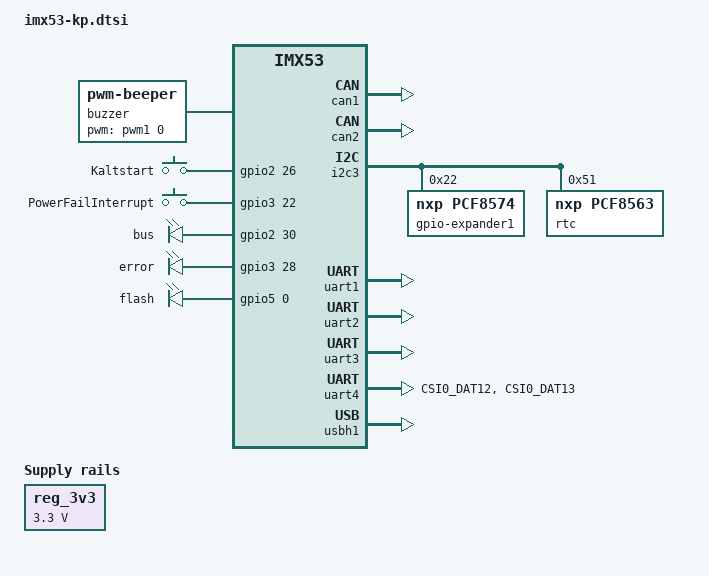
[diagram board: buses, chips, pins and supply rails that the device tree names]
// SPDX-License-Identifier: (GPL-2.0+ OR MIT)
/*
 * Copyright 2018
 * Lukasz Majewski, DENX Software Engineering, lukma@denx.de
 */

/dts-v1/;
#include "imx53-tqma53.dtsi"
#include <dt-bindings/input/input.h>

/ {
	buzzer {
		compatible = "pwm-beeper";
		pinctrl-names = "default";
		pinctrl-0 = <&pinctrl_buzzer>;
		pwms = <&pwm1 0 500000>;
	};

	gpio-buttons {
		compatible = "gpio-keys";
		pinctrl-names = "default";
		pinctrl-0 = <&pinctrl_gpiobuttons>;

		button-kalt {
			label = "Kaltstart";
			linux,code = <KEY_F6>;
			gpios = <&gpio2 26 GPIO_ACTIVE_HIGH>;
		};

		button-pwr {
			label = "PowerFailInterrupt";
			linux,code = <KEY_F7>;
			gpios = <&gpio3 22 GPIO_ACTIVE_HIGH>;
		};
	};

	leds {
		compatible = "gpio-leds";
		pinctrl-names = "default";
		pinctrl-0 = <&pinctrl_leds>;

		led-bus {
			label = "bus";
			gpios = <&gpio2 30 GPIO_ACTIVE_HIGH>;
			linux,default-trigger = "gpio";
			default-state = "off";
		};

		led-error {
			label = "error";
			gpios = <&gpio3 28 GPIO_ACTIVE_HIGH>;
			linux,default-trigger = "gpio";
			default-state = "off";
		};

		led-flash {
			label = "flash";
			gpios = <&gpio5 0 GPIO_ACTIVE_HIGH>;
			linux,default-trigger = "heartbeat";
		};
	};

	reg_3v3: regulator-3v3 {
		compatible = "regulator-fixed";
		regulator-name = "3V3";
		regulator-min-microvolt = <3300000>;
		regulator-max-microvolt = <3300000>;
		regulator-always-on;
	};
};

&can1 {
	status = "okay";
};

&can2 {
	status = "okay";
};

&i2c3 {
	status = "okay";

	gpio-expander1@22 {
		compatible = "nxp,pcf8574";
		reg = <0x22>;
		interrupts = <109>;
		#gpio-cells = <2>;
		gpio-controller;
	};

	rtc@51 {
		compatible = "nxp,pcf8563";
		reg = <0x51>;
	};
};

&iomuxc {
	pinctrl-names = "default";
	pinctrl-0 = <&pinctrl_kp_common>;

	imx53-kp-common {
		pinctrl_buzzer: buzzergrp {
			fsl,pins = <
				MX53_PAD_SD1_DATA3__PWM1_PWMO 0x1e4
			>;
		};

		pinctrl_gpiobuttons: gpiobuttonsgrp {
			fsl,pins = <
				MX53_PAD_EIM_RW__GPIO2_26 0x1e4
				MX53_PAD_EIM_D22__GPIO3_22 0x1e4
			>;
		};

		pinctrl_kp_common: kpcommongrp {
			fsl,pins = <
				MX53_PAD_EIM_CS0__GPIO2_23 0x1e4
				MX53_PAD_GPIO_19__GPIO4_5  0x1e4
				MX53_PAD_PATA_DATA6__GPIO2_6 0x1e4
				MX53_PAD_PATA_DATA7__GPIO2_7 0xe0
				MX53_PAD_CSI0_DAT14__GPIO6_0 0x1e4
				MX53_PAD_CSI0_DAT16__GPIO6_2 0x1e4
				MX53_PAD_CSI0_DAT18__GPIO6_4 0x1e4
				MX53_PAD_EIM_D17__GPIO3_17 0x1e4
				MX53_PAD_EIM_D18__GPIO3_18 0x1e4
				MX53_PAD_EIM_D21__GPIO3_21 0x1e4
				MX53_PAD_EIM_D29__GPIO3_29 0x1e4
				MX53_PAD_EIM_DA11__GPIO3_11 0x1e4
				MX53_PAD_EIM_DA13__GPIO3_13 0x1e4
				MX53_PAD_EIM_DA14__GPIO3_14 0x1e4
				MX53_PAD_SD1_DATA0__GPIO1_16 0x1e4
				MX53_PAD_SD1_CMD__GPIO1_18 0x1e4
				MX53_PAD_SD1_CLK__GPIO1_20 0x1e4
			>;
		};

		pinctrl_leds: ledgrp {
			fsl,pins = <
				MX53_PAD_EIM_EB2__GPIO2_30 0x1d4
				MX53_PAD_EIM_D28__GPIO3_28 0x1d4
				MX53_PAD_EIM_WAIT__GPIO5_0 0x1d4
			>;
		};

		pinctrl_uart4: uart4grp {
			fsl,pins = <
				MX53_PAD_CSI0_DAT12__UART4_TXD_MUX 0x1e4
				MX53_PAD_CSI0_DAT13__UART4_RXD_MUX 0x1e4
			>;
		};
	};
};

&pinctrl_uart1 {
	fsl,pins = <
		MX53_PAD_EIM_D23__GPIO3_23 0x1e4
		MX53_PAD_EIM_EB3__GPIO2_31 0x1e4
		MX53_PAD_EIM_D24__GPIO3_24 0x1e4
		MX53_PAD_EIM_D25__GPIO3_25 0x1e4
		MX53_PAD_EIM_D19__GPIO3_19 0x1e4
		MX53_PAD_EIM_D20__GPIO3_20 0x1e4
	>;
};

&pwm1 {
	#pwm-cells = <2>;
};

&pwm2 {
	#pwm-cells = <2>;
};

&uart1 {
	status = "okay";
};

&uart2 {
	status = "okay";
};

&uart3 {
	status = "okay";
};

&uart4 {
	pinctrl-names = "default";
	pinctrl-0 = <&pinctrl_uart4>;
	status = "okay";
};

&usbh1 {
	status = "okay";
};

&usbphy0 {
	status = "disabled";
};
